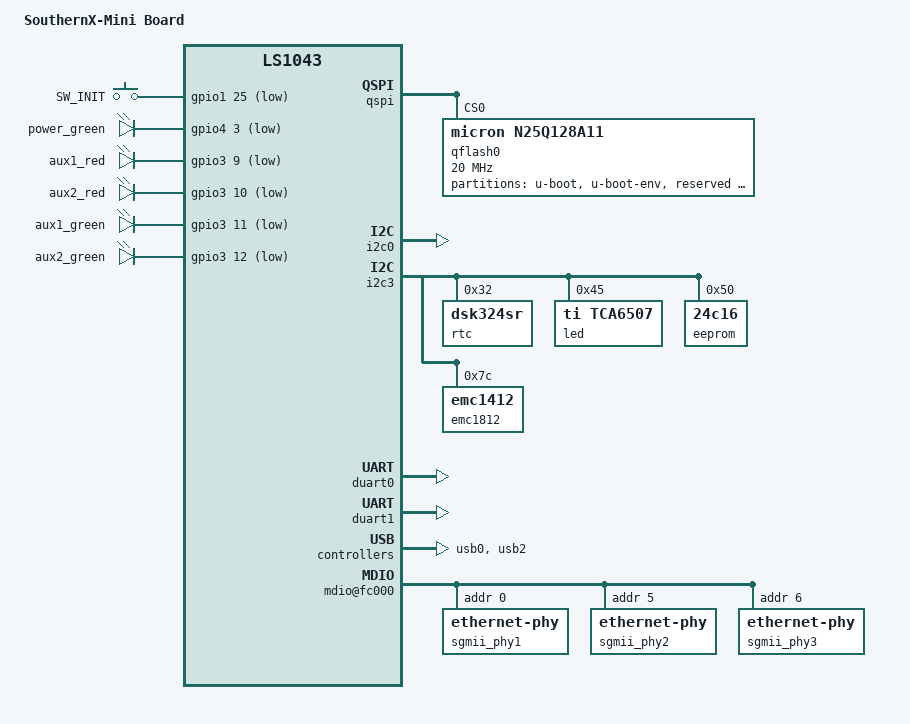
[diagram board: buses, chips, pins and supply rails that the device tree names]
// SPDX-License-Identifier: (GPL-2.0+ OR MIT)
/*
 * Device Tree Include file for Freescale Layerscape-1043A family SoC.
 *
 * Copyright 2014-2015 Freescale Semiconductor, Inc.
 *
 * Mingkai Hu <Mingkai.hu@freescale.com>
 */

/dts-v1/;
#include <dt-bindings/gpio/gpio.h>
#include <dt-bindings/input/input.h>
#include <dt-bindings/net/ti-dp83867.h>
#include "cs-southernx-mini.dtsi"

/ {
	model = "SouthernX-Mini Board";

	aliases {
		crypto = &crypto;
		serial0 = &duart0;
		serial1 = &duart1;
	};

	chosen {
		stdout-path = "serial0:115200n8";
	};

	gpio_keys {
		compatible = "gpio-keys";
		status = "ok";

		sw_init {
			label = "SW_INIT";
			gpios = <&gpio1 25 GPIO_ACTIVE_LOW>;
			linux,code = <BTN_0>;
		};
	};

	leds_system: leds_system {
		compatible = "gpio-leds";
		status = "ok";

		led@1 {
			label = "power_green";
			gpios = <&gpio4 3 GPIO_ACTIVE_LOW>;
			default-state = "on";
		};

		led@2 {
			label = "aux1_red";
			gpios = <&gpio3 9 GPIO_ACTIVE_LOW>;
		};
		
		led@3 {
			label = "aux2_red";
			gpios = <&gpio3 10 GPIO_ACTIVE_LOW>;
		};

		led@4 {
			label = "aux1_green";
			gpios = <&gpio3 11 GPIO_ACTIVE_LOW>;
		};

		led@5 {
			label = "aux2_green";
			gpios = <&gpio3 12 GPIO_ACTIVE_LOW>;
		};
	};
};

&qspi {
	num-cs = <1>;
	bus-num = <0>;
	status = "okay";

	qflash0: n25q128a11@0 {
		compatible = "micron,n25q128a11";
		#address-cells = <1>;
		#size-cells = <1>;
		spi-max-frequency = <20000000>;
		m25p,fast-read;
		reg = <0>;
		spi-rx-bus-width = <2>;
		spi-tx-bus-width = <2>;

		/* MTD partition table */
		partition@0 {
			label = "u-boot";
			reg = <0x00000000 0x00200000>;
		};

		partition@1 {
			label = "u-boot-env";
			reg = <0x00200000 0x00080000>;
		};

		partition@2 {
			label = "reserved";
			reg = <0x00280000 0x00080000>;
		};

		partition@3 {
			label = "oops";
			reg = <0x00300000 0x00200000>;
		};
	};
};

&i2c0 {
	status = "okay";
};

&i2c3 {
	status = "okay";

	rtc@32 {
		compatible = "dsk324sr";
		reg = <0x32>;
	};

	led@45 {
		compatible = "ti,tca6507";
		#address-cells = <1>;
		#size-cells = <0>;
		reg = <0x45>;

		/* LEDs on Main board */
		led0: power-status-red@0 {
			label = "power_red";
			reg = <0x0>;
		};

		led1: system-status1-red@1 {
			label = "status1_red";
			reg = <0x1>;
		};

		led2: system-status2-red@2 {
			label = "status2_red";
			reg = <0x2>;
		};

		led3: system-status3-red@3 {
			label = "status3_red";
			reg = <0x3>;
		};

		led4: system-status1-green@4 {
			label = "status1_green";
			linux,default-trigger = "timer";
			reg = <0x4>;
		};

		led5: system-status2-green@5 {
			label = "status2_green";
			reg = <0x5>;
		};

		led6: system-status3-green@6 {
			label = "status3_green";
			reg = <0x6>;
		};
	};

	eeprom@50 {
		compatible = "24c16";
		reg = <0x50>;
	};

	emc1812@7c {
		compatible = "emc1412";
		reg = <0x7c>;
	};
};

&duart0 {
	status = "okay";
};

&duart1 {
	status = "okay";
};

&usb0 {
	status = "okay";
};

&usb2 {
	status = "okay";
};

#include "fsl-ls1043-post.dtsi"

&fman0 {
	ethernet@e2000 {
		phy-handle = <&sgmii_phy2>;
		phy-connection-type = "sgmii";
	};

	ethernet@e8000 {
		phy-handle = <&sgmii_phy3>;
		phy-connection-type = "sgmii";
	};

	ethernet@f0000 {
		phy-handle = <&sgmii_phy1>;
		phy-connection-type = "sgmii";
	};

	ethernet@e0000 {
		status = "disabled";
	};

	ethernet@e4000 {
		status = "disabled";
	};

	ethernet@e6000 {
		status = "disabled";
	};

	ethernet@ea000 {
		status = "disabled";
	};

	mdio@fc000 {
		sgmii_phy1: ethernet-phy@1 {
			qca,ar8327-initvals = <
				0x00004 0x0000080   /* PAD0_MODE */
				0x000e0 0xc74164de  /* SGMII_CTRL */
				0x0007c 0x4e        /* PORT0_STATUS */
				>;
			interrupts = <GIC_SPI 147 IRQ_TYPE_LEVEL_HIGH>; /* IRQ08 */
			reg = <0x0>;
		};

		sgmii_phy2: ethernet-phy@2 {
			ti,fifo-depth = <DP83867_PHYCR_FIFO_DEPTH_4_B_NIB>;
			interrupts = <GIC_SPI 151 IRQ_TYPE_LEVEL_HIGH>; /* IRQ11 */
			reg = <0x5>;
		};

		sgmii_phy3: ethernet-phy@3 {
			ti,fifo-depth = <DP83867_PHYCR_FIFO_DEPTH_4_B_NIB>;
			interrupts = <GIC_SPI 133 IRQ_TYPE_LEVEL_HIGH>; /* IRQ02 */
			reg = <0x6>;
		};
	};

	mdio@fd000 {
		status = "disabled";
	};
};
